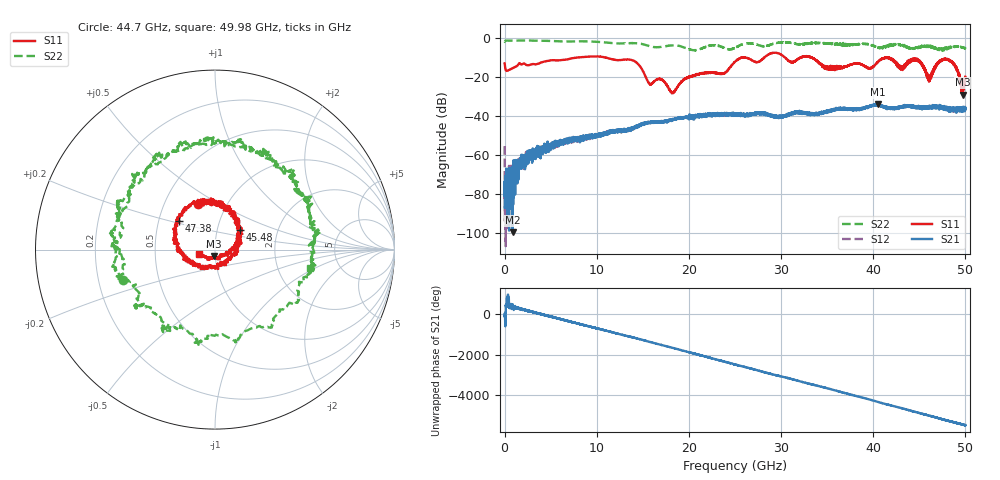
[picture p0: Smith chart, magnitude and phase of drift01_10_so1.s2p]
!Created with skrf (http://scikit-rf.org).
# Hz S RI R 50.0
!freq ReS11 ImS11 ReS21 ImS21 ReS12 ImS12 ReS22 ImS22
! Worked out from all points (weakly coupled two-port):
!   10001 points, 300 kHz to 50 GHz, reference 50 ohm
!   highest |S21| = -34.07 dB at 40.47 GHz (marker M1); lowest = -99.5 dB at 875.3 MHz (marker M2)
!   lowest |S11| = -29.0 dB at 49.72 GHz (marker M3), VSWR 1.07, Z = 49.4 - j3.47 ohm
!   |S11| at or under -10 dB: start of sweep to 8.045 GHz; 10.84 GHz to 25.99 GHz (15.15 GHz wide, 82.3 % of centre); 33.26 GHz to end of sweep (the widest 3 of 8)
!   |S22| runs from -6.7 to -1.4 dB; largest |S21 - S12| = 0.0042
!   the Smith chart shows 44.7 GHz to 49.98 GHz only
!   S11 on the Smith chart (normalised r, x): 44.7 GHz: 0.73, +0.40; 45.48 GHz: 1.29, +0.30; 47.38 GHz: 0.63, +0.22; 49.98 GHz: 0.84, -0.04
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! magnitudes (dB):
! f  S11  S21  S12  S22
! 300 kHz  -13.1  -80.5  -55.4  -2.1
! 255.3 MHz  -16.9  -74.3  -82.4  -1.4
! 875.3 MHz  -15.5  -99.5  -67.7  -1.5
! 3.245 GHz  -13.5  -59.6  -59.3  -1.5
! 8.335 GHz  -9.9  -50.8  -51.8  -1.8
! 13.78 GHz  -11.3  -47.1  -46.5  -2.8
! 15.72 GHz  -23.5  -43.6  -43.4  -4.3
! 16.67 GHz  -21.0  -43.0  -43.0  -4.8
! 18.25 GHz  -27.9  -41.9  -42.0  -3.9
! 25 GHz  -12.2  -39.1  -39.0  -5.1
! 33.34 GHz  -10.2  -39.1  -39.2  -2.7
! 35.22 GHz  -15.4  -37.7  -37.3  -3.0
! 40.47 GHz  -12.6  -34.1  -34.4  -4.9
! 41.67 GHz  -10.4  -36.1  -36.0  -4.4
! 44.7 GHz  -11.4  -35.3  -35.7  -5.3
! 45.48 GHz  -14.9  -36.1  -36.0  -4.6
! 46.12 GHz  -20.5  -35.8  -35.5  -4.4
! 47.38 GHz  -11.8  -35.8  -35.8  -5.6
! 48.7 GHz  -13.2  -36.4  -36.7  -4.6
! 49.72 GHz  -29.0  -36.5  -36.4  -5.1
! 49.98 GHz  -20.7  -36.1  -35.9  -5.3
! 50 GHz  -20.6  -36.1  -36.0  -5.4
